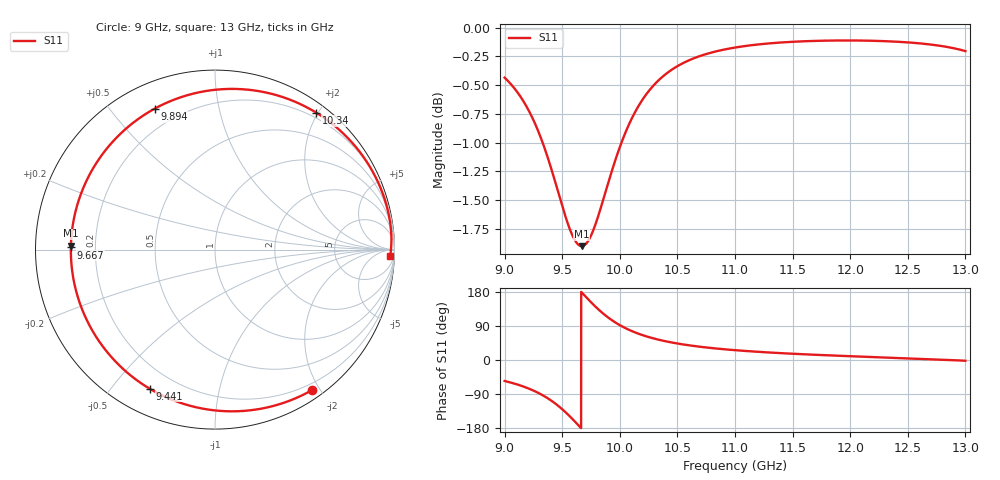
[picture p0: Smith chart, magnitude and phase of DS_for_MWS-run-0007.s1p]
! TOUCHSTONE file generated by CST DESIGN STUDIO
! Date and time: Tue Feb  4 18:24:25 2025
! Project name: C:\Work\MatlabApps\UnitCellOptimizationMatlab\CST\unitcell.cst
! Tree item: Tasks\Sweep1\SPara1\S-Parameters
! Header version: 2024
! Port assignment regex: !\s*Touchstone port\s*([0-9]+)\s*=\s*(CST MWS port|CST DES external port|CST DES block port)\s*(.+)\s* \(\"(.*)\"\)(\s*mode\s*([0-9]+))?.*
! Touchstone port assignment:
! Touchstone port 1 = CST DES external port 1 ("")
# GHz S MA R 50
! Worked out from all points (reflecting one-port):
!   4001 points, 9 GHz to 13 GHz, reference 50 ohm
!   lowest |S11| = -1.9 dB at 9.669 GHz (marker M1), VSWR 9.16, Z = 5.46 + j0.661 ohm
!   phase of S11 starts at -55 deg and turns -307 deg over the sweep
!   S11 on the Smith chart (normalised r, x): 9 GHz: 0.12, -1.90; 9.441 GHz: 0.11, -0.63; 9.667 GHz: 0.11, +0.01; 9.894 GHz: 0.11, +0.65; 10.34 GHz: 0.13, +1.98; 13 GHz: 27, -40
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9  0.9512 -55.4
9.112  0.9372 -64.8
9.223  0.9175 -77.1
9.344  0.8871 -95.4
9.441  0.8562 -115.1
9.5  0.8364 -129.8
9.544  0.8229 -142.1
9.591  0.8114 -156.4
9.63  0.8054 -168.8
9.667  0.8032 179.1
9.669  0.8032 178.5
9.726  0.8076 160.0
9.79  0.8214 140.4
9.842  0.837 126.0
9.894  0.8541 113.2
9.945  0.8706 102.2
10  0.8871 92.0
10.079  0.9075 79.7
10.159  0.9239 69.7
10.245  0.9376 61.0
10.339  0.9489 53.4
10.5  0.9622 43.5
10.719  0.9729 34.1
11  0.9804 25.9
11.5  0.9861 16.5
12  0.9874 10.0
12.5  0.9855 4.5
13  0.9769 -2.0
